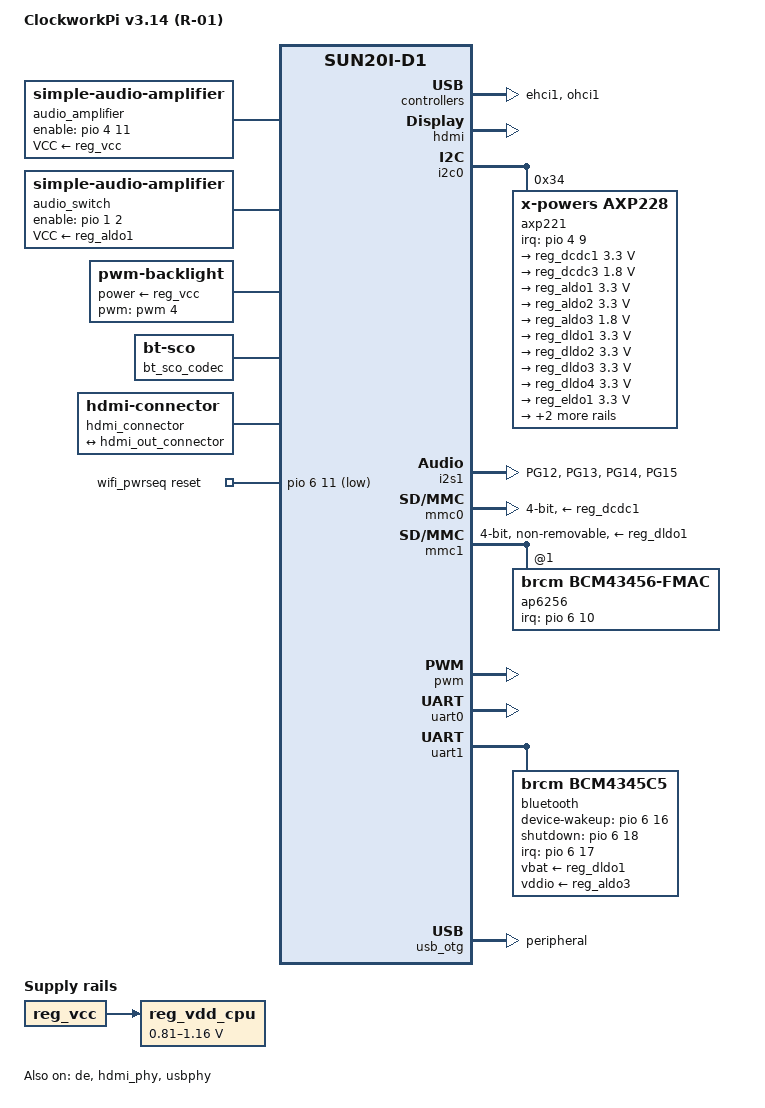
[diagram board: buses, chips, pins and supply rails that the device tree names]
// SPDX-License-Identifier: (GPL-2.0+ or MIT)
// Copyright (C) 2022 Samuel Holland <samuel@sholland.org>

/dts-v1/;

#include <dt-bindings/gpio/gpio.h>

#include "sun20i-d1.dtsi"
#include "sun20i-d1-common-regulators.dtsi"

/ {
	model = "ClockworkPi v3.14 (R-01)";
	compatible = "clockwork,r-01-clockworkpi-v3.14", "allwinner,sun20i-d1";

	aliases {
		ethernet0 = &ap6256;
		mmc0 = &mmc0;
		serial0 = &uart0;
	};

	chosen {
		stdout-path = "serial0:115200n8";
	};

	audio_amplifier: audio-amplifier {
		compatible = "simple-audio-amplifier";
		enable-gpios = <&pio 4 11 GPIO_ACTIVE_HIGH>; /* PE11/GPIO11 */
		sound-name-prefix = "Amplifier";
		VCC-supply = <&reg_vcc>;
	};

	/*
	 * FIXME: This is not really an amplifier, but the amplifier binding
	 * has the needed properties and behavior.
	 */
	audio_switch: audio-switch {
		compatible = "simple-audio-amplifier";
		enable-gpios = <&pio 1 2 GPIO_ACTIVE_HIGH>; /* PB2/AUD_SWITCH */
		sound-name-prefix = "Switch";
		VCC-supply = <&reg_aldo1>;
	};

	backlight: backlight {
		compatible = "pwm-backlight";
		power-supply = <&reg_vcc>;
		pwms = <&pwm 4 50000 0>; /* PD20/GPIO9 */
	};

	bt_sco_codec: bt-sco-codec {
		#sound-dai-cells = <0>;
		compatible = "linux,bt-sco";
	};

	bt-sound {
		compatible = "simple-audio-card";

		simple-audio-card,dai-link {
			cpu {
				sound-dai = <&i2s1>;
			};

			codec {
				sound-dai = <&bt_sco_codec>;
			};
		};
	};

	hdmi_connector: connector {
		compatible = "hdmi-connector";
		type = "d";

		port {
			hdmi_connector_in: endpoint {
				remote-endpoint = <&hdmi_out_connector>;
			};
		};
	};

	reg_vdd_cpu: vdd-cpu {
		compatible = "pwm-regulator";
		pwms = <&pwm 0 50000 0>;
		pwm-supply = <&reg_vcc>;
		regulator-name = "vdd-cpu";
		regulator-min-microvolt = <810000>;
		regulator-max-microvolt = <1160000>;
	};

	wifi_pwrseq: wifi-pwrseq {
		compatible = "mmc-pwrseq-simple";
		reset-gpios = <&pio 6 11 GPIO_ACTIVE_LOW>; /* PG11/GPIO3 */
	};
};

&codec {
	aux-devs = <&audio_amplifier>, <&audio_switch>;
	hp-det-gpio = <&pio 1 12 GPIO_ACTIVE_HIGH>; /* PB12/GPIO10 */
	pin-switches = "Internal Speakers";
	routing = "Internal Speakers", "Amplifier OUTL",
		  "Internal Speakers", "Amplifier OUTR",
		  "Amplifier INL", "Switch OUTL",
		  "Amplifier INR", "Switch OUTR",
		  "Headphone Jack", "Switch OUTL",
		  "Headphone Jack", "Switch OUTR",
		  "Switch INL", "HPOUTL",
		  "Switch INR", "HPOUTR",
		  "MICIN3", "Headset Microphone",
		  "Headset Microphone", "HBIAS";
	widgets = "Microphone", "Headset Microphone",
		  "Headphone", "Headphone Jack",
		  "Speaker", "Internal Speakers";
};

&cpu0 {
	cpu-supply = <&reg_vdd_cpu>;
};

&de {
	status = "okay";
};

&ehci1 {
	status = "okay";
};

&hdmi {
	status = "okay";
};

&hdmi_out {
	hdmi_out_connector: endpoint {
		remote-endpoint = <&hdmi_connector_in>;
	};
};

&hdmi_phy {
	status = "okay";
};

&i2c0 {
	pinctrl-0 = <&i2c0_pb10_pins>;
	pinctrl-names = "default";
	status = "okay";

	axp221: pmic@34 {
		compatible = "x-powers,axp228", "x-powers,axp221";
		reg = <0x34>;
		interrupt-parent = <&pio>;
		interrupts = <4 9 IRQ_TYPE_LEVEL_LOW>; /* PE9/GPIO2 */
		interrupt-controller;
		#interrupt-cells = <1>;

		ac_power_supply: ac-power {
			compatible = "x-powers,axp221-ac-power-supply";
		};

		axp_adc: adc {
			compatible = "x-powers,axp221-adc";
			#io-channel-cells = <1>;
		};

		battery_power_supply: battery-power {
			compatible = "x-powers,axp221-battery-power-supply";
		};

		regulators {
			x-powers,dcdc-freq = <3000>;

			reg_dcdc1: dcdc1 {
				regulator-name = "sys-3v3";
				regulator-always-on;
				regulator-min-microvolt = <3300000>;
				regulator-max-microvolt = <3300000>;
			};

			reg_dcdc3: dcdc3 {
				regulator-name = "sys-1v8";
				regulator-always-on;
				regulator-min-microvolt = <1800000>;
				regulator-max-microvolt = <1800000>;
			};

			reg_aldo1: aldo1 {
				regulator-name = "aud-3v3";
				regulator-min-microvolt = <3300000>;
				regulator-max-microvolt = <3300000>;
			};

			reg_aldo2: aldo2 {
				regulator-name = "disp-3v3";
				regulator-always-on;
				regulator-min-microvolt = <3300000>;
				regulator-max-microvolt = <3300000>;
			};

			reg_aldo3: aldo3 {
				regulator-name = "vdd-wifi";
				regulator-min-microvolt = <1800000>;
				regulator-max-microvolt = <1800000>;
			};

			/* DLDO1 and ELDO1-3 are connected in parallel. */
			reg_dldo1: dldo1 {
				regulator-name = "vbat-wifi-a";
				regulator-always-on;
				regulator-min-microvolt = <3300000>;
				regulator-max-microvolt = <3300000>;
			};

			/* DLDO2-DLDO4 are connected in parallel. */
			reg_dldo2: dldo2 {
				regulator-name = "vcc-3v3-ext-a";
				regulator-always-on;
				regulator-min-microvolt = <3300000>;
				regulator-max-microvolt = <3300000>;
			};

			reg_dldo3: dldo3 {
				regulator-name = "vcc-3v3-ext-b";
				regulator-always-on;
				regulator-min-microvolt = <3300000>;
				regulator-max-microvolt = <3300000>;
			};

			reg_dldo4: dldo4 {
				regulator-name = "vcc-3v3-ext-c";
				regulator-always-on;
				regulator-min-microvolt = <3300000>;
				regulator-max-microvolt = <3300000>;
			};

			reg_eldo1: eldo1 {
				regulator-name = "vbat-wifi-b";
				regulator-always-on;
				regulator-min-microvolt = <3300000>;
				regulator-max-microvolt = <3300000>;
			};

			reg_eldo2: eldo2 {
				regulator-name = "vbat-wifi-c";
				regulator-always-on;
				regulator-min-microvolt = <3300000>;
				regulator-max-microvolt = <3300000>;
			};

			reg_eldo3: eldo3 {
				regulator-name = "vbat-wifi-d";
				regulator-always-on;
				regulator-min-microvolt = <3300000>;
				regulator-max-microvolt = <3300000>;
			};
		};

		usb_power_supply: usb-power {
			compatible = "x-powers,axp221-usb-power-supply";
			status = "disabled";
		};
	};
};

&i2s1 {
	pinctrl-0 = <&i2s1_clk_pins>, <&i2s1_din_pin>, <&i2s1_dout_pin>;
	pinctrl-names = "default";
	status = "okay";
};

&mmc0 {
	broken-cd;
	bus-width = <4>;
	disable-wp;
	vmmc-supply = <&reg_dcdc1>;
	vqmmc-supply = <&reg_vcc_3v3>;
	pinctrl-0 = <&mmc0_pins>;
	pinctrl-names = "default";
	status = "okay";
};

&mmc1 {
	bus-width = <4>;
	mmc-pwrseq = <&wifi_pwrseq>;
	non-removable;
	vmmc-supply = <&reg_dldo1>;
	vqmmc-supply = <&reg_aldo3>;
	pinctrl-0 = <&mmc1_pins>;
	pinctrl-names = "default";
	status = "okay";

	ap6256: wifi@1 {
		compatible = "brcm,bcm43456-fmac", "brcm,bcm4329-fmac";
		reg = <1>;
		interrupt-parent = <&pio>;
		interrupts = <6 10 IRQ_TYPE_LEVEL_LOW>; /* PG10/GPIO4 */
		interrupt-names = "host-wake";
	};
};

&ohci1 {
	status = "okay";
};

&pio {
	vcc-pg-supply = <&reg_ldoa>;

	i2s1_clk_pins: i2s1-clk-pins {
		pins = "PG12", "PG13";
		function = "i2s1";
	};

	i2s1_din_pin: i2s1-din-pin {
		pins = "PG14";
		function = "i2s1_din";
	};

	i2s1_dout_pin: i2s1-dout-pin {
		pins = "PG15";
		function = "i2s1_dout";
	};
};

&pwm {
	pinctrl-0 = <&pwm0_pd16_pin>, <&pwm4_pd20_pin>;
	pinctrl-names = "default";
	status = "okay";
};

&uart0 {
	pinctrl-0 = <&uart0_pb8_pins>;
	pinctrl-names = "default";
	status = "okay";
};

&uart1 {
	uart-has-rtscts;
	pinctrl-0 = <&uart1_pg6_pins>, <&uart1_pg8_rts_cts_pins>;
	pinctrl-names = "default";
	status = "okay";

	bluetooth {
		compatible = "brcm,bcm4345c5";
		interrupt-parent = <&pio>;
		interrupts = <6 17 IRQ_TYPE_LEVEL_HIGH>; /* PG17/GPIO6 */
		device-wakeup-gpios = <&pio 6 16 GPIO_ACTIVE_HIGH>; /* PG16/GPIO7 */
		shutdown-gpios = <&pio 6 18 GPIO_ACTIVE_HIGH>; /* PG18/GPIO5 */
		max-speed = <1500000>;
		vbat-supply = <&reg_dldo1>;
		vddio-supply = <&reg_aldo3>;
	};
};

&usb_otg {
	dr_mode = "peripheral";
	status = "okay";
};

&usbphy {
	usb0_vbus_power-supply = <&ac_power_supply>;
	status = "okay";
};
